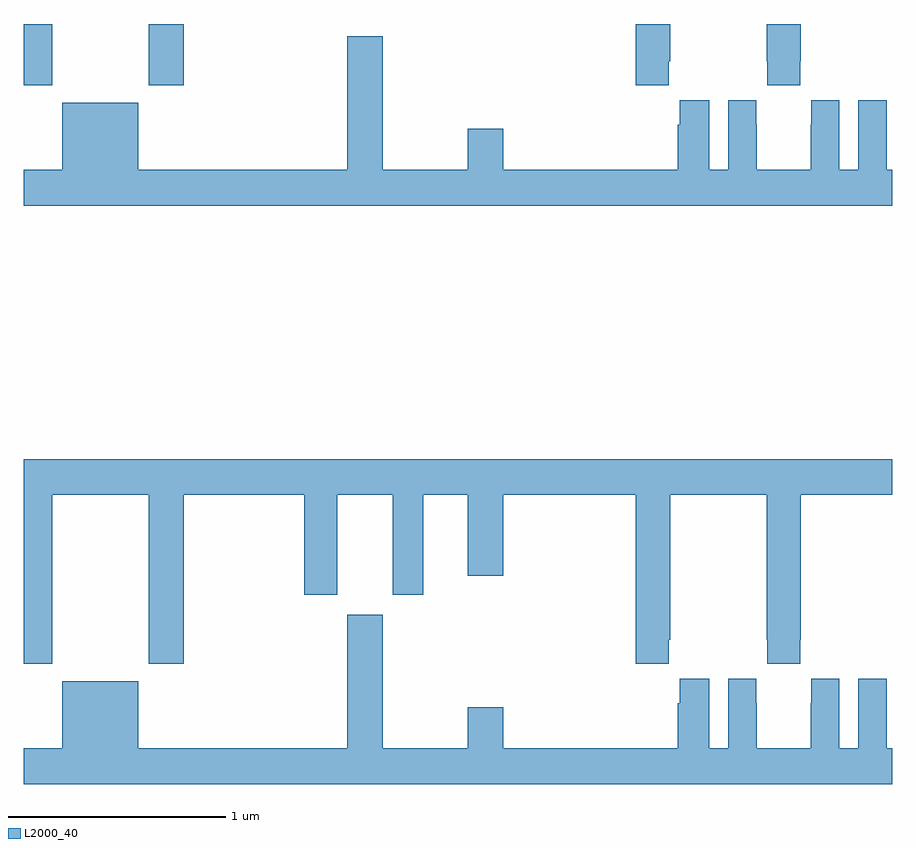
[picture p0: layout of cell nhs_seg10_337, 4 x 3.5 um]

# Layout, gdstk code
import gdstk
lib = gdstk.Library(unit=1e-6, precision=1e-09)
def R(c, l, rs):  # rectangles x0, y0, x1, y1
    for r in rs: c.add(gdstk.rectangle(r[:2], r[2:], *l))
def P(c, l, *ps):  # polygons
    for p in ps: c.add(gdstk.Polygon(p, *l))
L2000_40 = (2000, 40)

nhs_seg10_337 = lib.new_cell('nhs_seg10_337')
R(nhs_seg10_337, L2000_40, [(127,1286.217,127.131,1286.5), (127.576,1286.217,127.736,1286.5)])
P(nhs_seg10_337, L2000_40, [(130.575,1286.329),(130.578,1286.329),(130.578,1286.5),(130.423,1286.5),(130.423,1286.329),(130.425,1286.329),(130.425,1286.217),(130.575,1286.217)],
  [(129.971,1286.329),(129.977,1286.329),(129.977,1286.5),(129.818,1286.5),(129.818,1286.217),(129.971,1286.217)],
  [(131,1285.828),(130.975,1285.828),(130.975,1286.036),(130.974,1286.036),(130.974,1286.149),(130.844,1286.149),(130.844,1285.828),(130.756,1285.828),(130.756,1286.149),(130.626,1286.149),(130.626,1286.036),(130.625,1286.036),(130.625,1285.828),(130.375,1285.828),(130.375,1286.036),(130.374,1286.036),(130.374,1286.149),(130.244,1286.149),(130.244,1285.828),(130.156,1285.828),(130.156,1286.149),(130.022,1286.149),(130.022,1286.036),(130.013,1286.036),(130.013,1285.828),(129.208,1285.828),(129.208,1286.017),(129.044,1286.017),(129.044,1285.828),(128.653,1285.828),(128.653,1286.443),(128.489,1286.443),(128.489,1285.828),(127.528,1285.828),(127.528,1286.137),(127.178,1286.137),(127.178,1285.828),(127,1285.828),(127,1285.664),(131,1285.664)],
  [(127.131,1284.332),(127.576,1284.332),(127.576,1283.553),(127.736,1283.553),(127.736,1284.332),(128.291,1284.332),(128.291,1283.871),(128.443,1283.871),(128.443,1284.332),(128.699,1284.332),(128.699,1283.871),(128.839,1283.871),(128.839,1284.332),(129.044,1284.332),(129.044,1283.958),(129.208,1283.958),(129.208,1284.332),(129.818,1284.332),(129.818,1283.553),(129.971,1283.553),(129.971,1283.665),(129.977,1283.665),(129.977,1284.332),(130.423,1284.332),(130.423,1283.665),(130.425,1283.665),(130.425,1283.553),(130.575,1283.553),(130.575,1283.665),(130.578,1283.665),(130.578,1284.332),(131,1284.332),(131,1284.496),(127,1284.496),(127,1283.553),(127.131,1283.553)],
  [(131,1283.164),(130.975,1283.164),(130.975,1283.372),(130.974,1283.372),(130.974,1283.485),(130.844,1283.485),(130.844,1283.164),(130.756,1283.164),(130.756,1283.485),(130.626,1283.485),(130.626,1283.372),(130.625,1283.372),(130.625,1283.164),(130.375,1283.164),(130.375,1283.372),(130.374,1283.372),(130.374,1283.485),(130.244,1283.485),(130.244,1283.164),(130.156,1283.164),(130.156,1283.485),(130.022,1283.485),(130.022,1283.372),(130.013,1283.372),(130.013,1283.164),(129.208,1283.164),(129.208,1283.353),(129.044,1283.353),(129.044,1283.164),(128.653,1283.164),(128.653,1283.779),(128.489,1283.779),(128.489,1283.164),(127.528,1283.164),(127.528,1283.473),(127.178,1283.473),(127.178,1283.164),(127,1283.164),(127,1283),(131,1283)])

lib.write_gds('nhs_seg10_337.gds')
